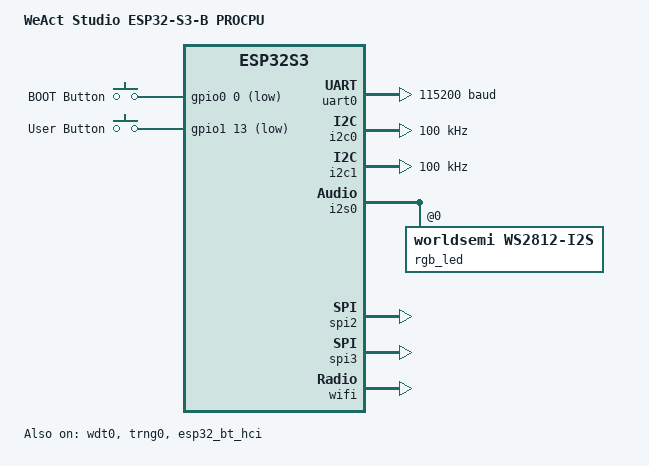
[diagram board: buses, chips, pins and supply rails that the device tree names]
/*
 * Copyright (c) 2024 Espressif Systems (Shanghai) Co., Ltd.
 * Copyright (c) 2025 Siratul Islam <sirat4757@gmail.com>
 *
 * SPDX-License-Identifier: Apache-2.0
 */
/dts-v1/;

#include <espressif/esp32s3/esp32s3_wroom_n16r8.dtsi>
#include <espressif/partitions_0x0_amp_16M.dtsi>
#include <zephyr/dt-bindings/input/input-event-codes.h>
#include <zephyr/dt-bindings/input/esp32-touch-sensor-input.h>
#include <zephyr/dt-bindings/led/led.h>
#include "weact_esp32s3_b-pinctrl.dtsi"

/ {
	model = "WeAct Studio ESP32-S3-B PROCPU";
	compatible = "espressif,esp32s3";

	aliases {
		i2c-0 = &i2c0;
		watchdog0 = &wdt0;
	};

	chosen {
		zephyr,sram = &sram1;
		zephyr,console = &uart0;
		zephyr,shell-uart = &uart0;
		zephyr,flash = &flash0;
		zephyr,code-partition = &slot0_partition;
		zephyr,bt-hci = &esp32_bt_hci;
	};

	aliases {
		uart-0 = &uart0;
		sw0 = &button0;
		sw1 = &button1;
		rgb0 = &rgb_led;
	};

	buttons {
		compatible = "gpio-keys";

		button0: button_0 {
			gpios = <&gpio0 0 (GPIO_PULL_UP | GPIO_ACTIVE_LOW)>;
			label = "BOOT Button";
			zephyr,code = <INPUT_KEY_0>;
		};

		button1: button_1 {
			gpios = <&gpio1 13 (GPIO_PULL_UP | GPIO_ACTIVE_LOW)>;
			label = "User Button";
			zephyr,code = <INPUT_KEY_1>;
		};
	};
};

&usb_serial {
	status = "disabled";
};

&uart0 {
	status = "okay";
	current-speed = <115200>;
	pinctrl-0 = <&uart0_default>;
	pinctrl-names = "default";
};

&gpio0 {
	status = "okay";
};

&gpio1 {
	status = "okay";
};

&touch {
	debounce-interval-ms = <30>;
	href-microvolt = <2700000>;
	lref-microvolt = <500000>;
	href-atten-microvolt = <1000000>;
	filter-mode = <ESP32_TOUCH_FILTER_MODE_IIR_16>;
	filter-debounce-cnt = <1>;
	filter-noise-thr = <ESP32_TOUCH_FILTER_NOISE_THR_4_8TH>;
	filter-jitter-step = <4>;
	filter-smooth-level = <ESP32_TOUCH_FILTER_SMOOTH_MODE_IIR_2>;
};

&i2c0 {
	clock-frequency = <I2C_BITRATE_STANDARD>;
	pinctrl-0 = <&i2c0_default>;
	pinctrl-names = "default";
};

&i2c1 {
	clock-frequency = <I2C_BITRATE_STANDARD>;
	pinctrl-0 = <&i2c1_default>;
	pinctrl-names = "default";
};

&i2s0 {
	pinctrl-0 = <&i2s0_default>;
	pinctrl-names = "default";
	status = "okay";

	dmas = <&dma 3>;
	dma-names = "tx";

	rgb_led: ws2812@0 {
		compatible = "worldsemi,ws2812-i2s";

		reg = <0>;
		chain-length = <1>;
		color-mapping = <LED_COLOR_ID_GREEN
				 LED_COLOR_ID_RED
				 LED_COLOR_ID_BLUE>;
		reset-delay = <500>;
	};
};

&i2s1 {
	pinctrl-0 = <&i2s1_default>;
	pinctrl-names = "default";
	status = "disabled";
};

&spi2 {
	#address-cells = <1>;
	#size-cells = <0>;
	status = "okay";
	pinctrl-0 = <&spim2_default>;
	pinctrl-names = "default";
};

&spi3 {
	#address-cells = <1>;
	#size-cells = <0>;
	status = "okay";
	pinctrl-0 = <&spim3_default>;
	pinctrl-names = "default";
};

&twai {
	pinctrl-0 = <&twai_default>;
	pinctrl-names = "default";
};

&timer0 {
	status = "disabled";
};

&timer1 {
	status = "disabled";
};

&timer2 {
	status = "disabled";
};

&timer3 {
	status = "disabled";
};

&wdt0 {
	status = "okay";
};

&trng0 {
	status = "okay";
};

&esp32_bt_hci {
	status = "okay";
};

&wifi {
	status = "okay";
};

&dma {
	status = "okay";
};
